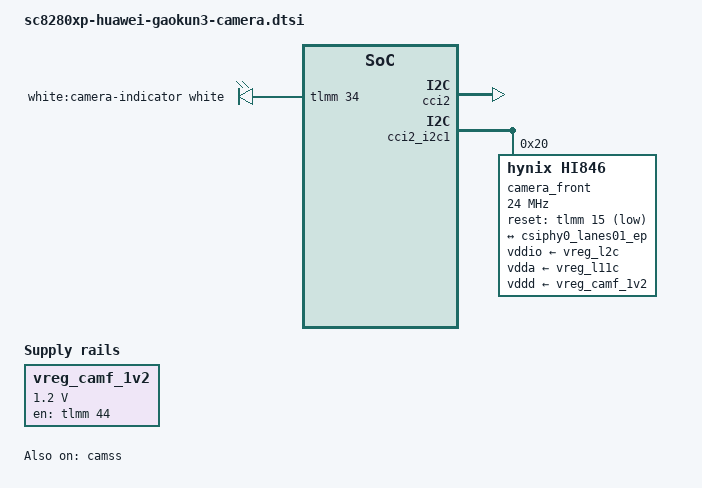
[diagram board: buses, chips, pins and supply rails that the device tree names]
// SPDX-License-Identifier: BSD-3-Clause
/*
 * Copyright (c) 2021, The Linux Foundation. All rights reserved.
 * Copyright (c) 2022, Linaro Limited
 *
 * Copyright (c) 2025, Pengyu Luo <mitltlatltl@gmail.com>
 */

#include <dt-bindings/leds/common.h>

/ {
	leds {
		compatible = "gpio-leds";

		pinctrl-names = "default";
		pinctrl-0 = <&camf_indicator_en>;

		flash_camf: led-camera-indicator {
			label = "white:camera-indicator";
			function = LED_FUNCTION_INDICATOR;
			color = <LED_COLOR_ID_WHITE>;
			gpios = <&tlmm 34 GPIO_ACTIVE_HIGH>;
			linux,default-trigger = "none";
			default-state = "off";
			/* Reuse as a panic indicator until we get a "camera on" trigger */
			panic-indicator;
		};
	};

	vreg_camf_1v2: regulator-camf-lv2 {
		compatible = "regulator-fixed";

		regulator-name = "CAMF_1V2";
		regulator-min-microvolt = <1200000>;
		regulator-max-microvolt = <1200000>;

		gpio = <&tlmm 44 GPIO_ACTIVE_HIGH>;
		enable-active-high;

		pinctrl-0 = <&camf_lv2_reg_en>;
		pinctrl-names = "default";

		regulator-boot-on;
	};
};

&apps_rsc {
	regulators-1 {
			vreg_l2c: ldo2 {
			regulator-name = "vreg_l2c";
			regulator-min-microvolt = <1800000>;
			regulator-max-microvolt = <1800000>;
			regulator-initial-mode = <RPMH_REGULATOR_MODE_HPM>;
			regulator-allow-set-load;
			regulator-allowed-modes = <RPMH_REGULATOR_MODE_LPM
						   RPMH_REGULATOR_MODE_HPM>;
		};

		vreg_l11c: ldo11 {
			regulator-name = "vreg_l11c";
			regulator-min-microvolt = <2800000>;
			regulator-max-microvolt = <2800000>;
			regulator-initial-mode = <RPMH_REGULATOR_MODE_HPM>;
			regulator-allow-set-load;
			regulator-allowed-modes = <RPMH_REGULATOR_MODE_LPM
						   RPMH_REGULATOR_MODE_HPM>;
		};
	};
};

&camss {
	vdda-phy-supply = <&vreg_l6d>;
	vdda-pll-supply = <&vreg_l4d>;

	status = "okay";

	ports {
		port@0 {
			csiphy0_lanes01_ep: endpoint@0 {
				reg = <0>;
				clock-lanes = <7>;
				data-lanes = <0 1>;
				remote-endpoint = <&hi846_ep>;
			};
		};
	};
};

&cci2 {
	status = "okay";
};

&cci2_i2c1 {
	camera_front: camera@20 {
		compatible = "hynix,hi846";
		reg = <0x20>;

		pinctrl-names = "default";
		pinctrl-0 = <&camf_rgb_default>;

		clocks = <&camcc CAMCC_MCLK3_CLK>;
		clock-frequency = <24000000>; // dummy, the default one is 19.2Mhz

		reset-gpios = <&tlmm 15 GPIO_ACTIVE_LOW>;
		vddio-supply = <&vreg_l2c>;
		vdda-supply = <&vreg_l11c>;
		vddd-supply = <&vreg_camf_1v2>;

		orientation = <0>;	/* Front facing */
		rotation = <90>;

//		flash-leds = <&flash_camf>; /* which cause camera detect failure */

		port {
			hi846_ep: endpoint {
				data-lanes = <1 2>;
				link-frequencies = /bits/ 64 <80000000 200000000>;
				remote-endpoint = <&csiphy0_lanes01_ep>;
			};
		};
	};
};

&tlmm {

	camf_indicator_en: camf-indicator-en-state {
		pins = "gpio34";
		function = "gpio";
		drive-strength = <2>;
		bias-disable;
	};

	camf_lv2_reg_en: camf-lv2-reg-en-state {
		pins = "gpio44";
		function = "gpio";
		drive-strength = <2>;
		bias-disable;
	};

	camf_rgb_default: camf-rgb-default-state {
		mclk-pins {
			pins = "gpio17";
			function = "cam_mclk";
			drive-strength = <16>;
			bias-disable;
		};

		sc-rgb-xshut-n-pins {
			pins = "gpio15";
			function = "gpio";
			drive-strength = <2>;
			bias-disable;
		};
	};
};
